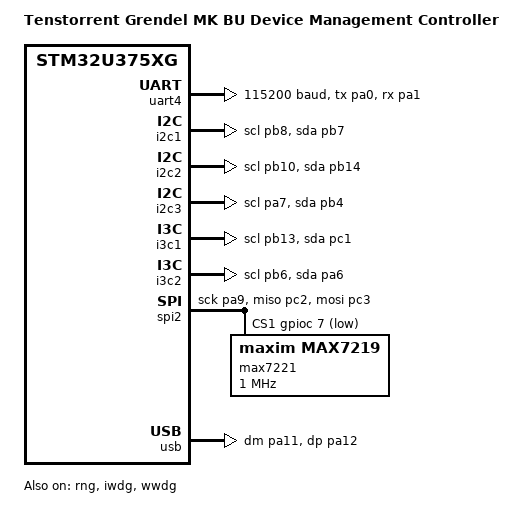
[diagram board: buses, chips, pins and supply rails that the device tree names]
/*
 * Copyright (c) 2026 Tenstorrent AI ULC
 *
 * SPDX-License-Identifier: Apache-2.0
 */

/dts-v1/;
#include <st/u3/stm32u375Xg.dtsi>
#include <st/u3/stm32u375rgtx-pinctrl.dtsi>
#include <zephyr/dt-bindings/input/input-event-codes.h>

/ {
	model = "Tenstorrent Grendel MK BU Device Management Controller";
	compatible = "tenstorrent,tt-grendel-mk-bu-dmc";

	chosen {
		zephyr,console = &uart4;
		zephyr,flash = &flash0;
		zephyr,shell-uart = &uart4;
		zephyr,sram = &sram0;
	};
};

&clk_hsi {
	status = "okay";
};

&clk_hsi48 {
	status = "okay";
};

&clk_lse {
	/* BRING-UP: 32.768 kHz crystal not populated on this board. Zephyr's
	 * STM32 clock init enables every "okay" clock and polls its ready flag
	 * with no timeout, so an absent LSE hangs boot before console init.
	 * LSI (enabled below) covers any low-speed clock need.
	 */
	status = "disabled";
};

&clk_msik {
	status = "okay";
};

&clk_msis {
	status = "okay";
	/* BRING-UP: msi-pll-mode removed with clk_lse disabled -- MSI PLL-mode
	 * auto-calibration requires LSE or HSE, neither populated on this board.
	 * MSI then runs on factory trim only (slightly looser accuracy, fine for
	 * a 115200 console).
	 */
	msi-range = <0>; /* 96MHz (reset value) */
};

&rcc {
	clocks = <&clk_msis>;
	clock-frequency = <DT_FREQ_M(96)>;
	ahb-prescaler = <1>;
	apb1-prescaler = <1>;
	apb2-prescaler = <1>;
	apb3-prescaler = <1>;
};

&clk_lsi {
	status = "okay";
};

&uart4 {
	pinctrl-0 = <&uart4_tx_pa0 &uart4_rx_pa1>;
	pinctrl-names = "default";
	current-speed = <115200>;
	status = "okay";
};

&i2c1 {
	pinctrl-0 = <&i2c1_scl_pb8 &i2c1_sda_pb7>;
	pinctrl-names = "default";
	status = "okay";
};

&i2c2 {
	pinctrl-0 = <&i2c2_scl_pb10 &i2c2_sda_pb14>;
	pinctrl-names = "default";
	status = "okay";
};

&i2c3 {
	pinctrl-0 = <&i2c3_scl_pa7 &i2c3_sda_pb4>;
	pinctrl-names = "default";
	status = "okay";
};

&i3c1 {
	pinctrl-0 = <&i3c1_scl_pb13 &i3c1_sda_pc1>;
	pinctrl-names = "default";
	status = "okay";
	i3c-scl-hz = <1000000>;   /* 1 MHz I3C frequency */
	i2c-scl-hz = <400000>;    /* 400 kHz I2C Fast Mode */

	/* TODO: Remove placeholder */
	i3c_peer: i3c_peer@cccccccccccc {
		compatible = "tenstorrent,smc-remoteproc";
		reg = <0x00 0xcccc 0xcccccccc>;
		/* TODO: Add boot-gpios once the MK BU has a chip, and enable*/
		status = "disabled";
	};
};

&i3c2 {
	pinctrl-0 = <&i3c2_scl_pb6 &i3c2_sda_pa6>;
	pinctrl-names = "default";
	status = "okay";
	i3c-scl-hz = <1000000>;   /* 1 MHz I3C frequency */
	i2c-scl-hz = <400000>;    /* 400 kHz I2C Fast Mode */
};

&rng {
	clocks = <&rcc STM32_CLOCK(AHB2, 18)>,
		 <&rcc STM32_SRC_MSIK RNG_SEL(1)>;
	status = "okay";
};

&spi2 {
	pinctrl-0 = <&spi2_sck_pa9 &spi2_miso_pc2
		     &spi2_mosi_pc3>;
	pinctrl-names = "default";
	status = "okay";
	/* BRING-UP FIX: cs-gpios index 1 named PC9, but PC9 is the SPI level
	 * shifter ENABLE (active high) -- driving it as an active-low chip
	 * select disabled the shifter during every transfer, blocking the
	 * data it was trying to send. The MAX7221 chip select is PC7.
	 */
	cs-gpios = <&gpiob 9 GPIO_ACTIVE_LOW>, <&gpioc 7 GPIO_ACTIVE_LOW>;

	mt35xu512: mt35xu512@0 {
		compatible = "jedec,spi-nor";
		reg = <0>;
		spi-max-frequency = <DT_FREQ_M(48)>;
		/* BRING-UP: driver init reads the JEDEC ID; with the flash rail
		 * unpowered the SPI shift loop never completes and boot hangs
		 * before the shell starts. Re-enable once the rail is up.
		 */
		status = "disabled";
		size = <0x20000000>;  /* 512 Mb (megabits) */
	};

	max7221: max7221@1 {
		compatible = "maxim,max7219";
		reg = <1>;
		spi-max-frequency = <1000000>;
		num-cascading = <1>;
		intensity = <8>;
		scan-limit = <7>;
		status = "okay";  /* BRING-UP: re-enabled to drive via the Zephyr driver */
	};
};

&iwdg {
	status = "okay";
};

&wwdg {
	status = "okay";
};

/* USB-C device port straight to the STM32: PA11 = D-, PA12 = D+. The USB FS
 * clock is HSI48 (see &clk_hsi48 above, and the SoC's ICLK_SEL); there is no
 * HSE or LSE on this board, so HSI48 running on its factory trim is the only
 * 48 MHz source -- which is exactly how upstream's nucleo_u385rg_q does it.
 */
zephyr_udc0: &usb {
	pinctrl-0 = <&usb_dm_pa11 &usb_dp_pa12>;
	pinctrl-names = "default";
	status = "okay";

	/* CDC ACM function, so the host sees a /dev/ttyACM* serial port. The
	 * node label is what CONFIG_CDC_ACM_SERIAL_INITIALIZE_AT_BOOT looks for
	 * (it registers the first CDC ACM instance under zephyr_udc0), and what
	 * dm_test_app binds its second shell instance to.
	 */
	cdc_acm_uart0: cdc_acm_uart0 {
		compatible = "zephyr,cdc-acm-uart";
	};
};
